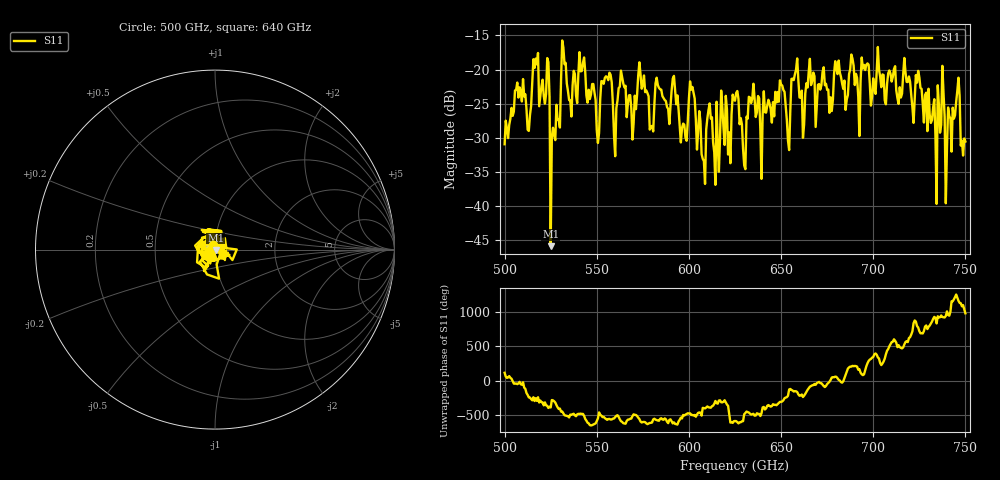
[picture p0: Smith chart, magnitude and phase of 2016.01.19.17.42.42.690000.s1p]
!Created with skrf (http://scikit-rf.org).
# GHz S RI R 50.0
!freq ReS11 ImS11
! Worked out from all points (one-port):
!   401 points, 500 GHz to 750 GHz, reference 50 ohm
!   lowest |S11| = -45.9 dB at 525 GHz (marker M1), VSWR 1.01, Z = 50.5 - j0.203 ohm
!   |S11| at or under -10 dB: start of sweep to end of sweep
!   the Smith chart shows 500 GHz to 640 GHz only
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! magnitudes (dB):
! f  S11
! 500 GHz  -31.0
! 506.9 GHz  -21.9
! 513.1 GHz  -29.0
! 516.9 GHz  -18.4
! 523.1 GHz  -18.3
! 525 GHz  -45.9
! 526.2 GHz  -28.5
! 531.2 GHz  -15.7
! 541.9 GHz  -20.2
! 550.6 GHz  -30.8
! 562.5 GHz  -22.5
! 593.8 GHz  -23.8
! 597.5 GHz  -28.1
! 601.9 GHz  -22.6
! 608.1 GHz  -33.4
! 611.2 GHz  -25.0
! 625 GHz  -24.6
! 629.4 GHz  -31.7
! 633.8 GHz  -24.9
! 640 GHz  -26.6
! 650.6 GHz  -22.4
! 653.8 GHz  -30.4
! 656.2 GHz  -21.3
! 687.5 GHz  -20.0
! 718.8 GHz  -21.8
! 740 GHz  -31.5
! 745.6 GHz  -23.1
! 750 GHz  -30.6
